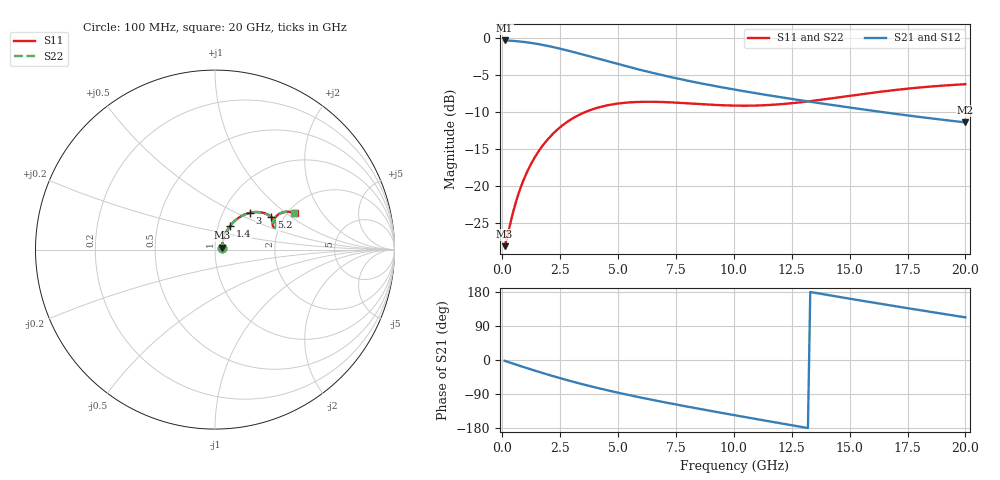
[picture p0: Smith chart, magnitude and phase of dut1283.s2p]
! Touchstone file exported from HFSS 2024.1.0
!  File:  C:/UserFiles/LocalFiles/RDL_TSV_Batchsim/temp_RDL_TSV_1283_1780277839.aedt
!  Generated:  09:55:05 AM Jun  1, 2026
!  Design:  RDL_TSV
!  Project:  temp_RDL_TSV_1283_1780277839
!  Setup:  Setup1
!  Solution:  Sweep
! Variables:
!  dtsv = 6.08um
!  hbump = 3um
!  htsv = 89.99um
!  ldown = 229.11um
!  lrdl = 685.77um
!  p = 40
!  p1 = 50.77um
!  rhole = 10um
!  subl = 3430.41um
!  t = 450um
!  tdown = 2.49um
!  trdl = 2.68um
!  viad = 10um
!  wdown = 26.17um
!  wrdl = 10.82um
!  xbump = 18um
# GHz S MA R 50.000000
! Terminal data exported
! Port[1] = TM1_1_T1
! Port[2] = TM1_4_T1
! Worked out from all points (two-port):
!   200 points, 100 MHz to 20 GHz, reference 50 ohm
!   highest |S21| = -0.33 dB at 100 MHz (marker M1); lowest = -11.4 dB at 20 GHz (marker M2)
!   |S21| within 3 dB of the highest: start of sweep to 4.763 GHz
!   lowest |S11| = -28.2 dB at 100 MHz (marker M3), VSWR 1.08, Z = 53.9 + j1.19 ohm
!   |S11| at or under -10 dB: start of sweep to 3.597 GHz
!   |S22| runs from -28.2 to -6.3 dB; largest |S21 - S12| = 1.1e-14
!   S11 on the Smith chart (normalised r, x): 100 MHz: 1.08, +0.02; 1.4 GHz: 1.14, +0.31; 3 GHz: 1.33, +0.60; 5.2 GHz: 1.73, +0.72; 20 GHz: 2.18, +1.15
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0.1  0.03906 16.4  0.9625 -2.1  0.9625 -2.1  0.03907 16.3
! Gamma 0 0 0 0
! Port Impedance 50 0 50 0
0.5  0.06936 49.4  0.9553 -10.3  0.9553 -10.3  0.06937 49.4
0.7  0.08834 54.3  0.9492 -14.3  0.9492 -14.3  0.08835 54.3
1  0.1173 57.3  0.9376 -20.2  0.9376 -20.2  0.1173 57.2
1.4  0.1555 57.4  0.9181 -27.9  0.9181 -27.9  0.1555 57.4
1.8  0.192 55.7  0.8945 -35.4  0.8945 -35.4  0.1919 55.6
2.2  0.226 52.9  0.8678 -42.7  0.8678 -42.7  0.2258 52.9
2.6  0.2566 49.8  0.8391 -49.7  0.8391 -49.7  0.2563 49.7
3  0.2835 46.4  0.8092 -56.4  0.8092 -56.4  0.2831 46.4
3.5  0.3115 42.3  0.7715 -64.5  0.7715 -64.5  0.311 42.2
4.3  0.3436 36.0  0.7131 -76.5  0.7131 -76.5  0.3429 35.9
5.2  0.3634 30.1  0.6533 -89.0  0.6533 -89.0  0.3626 30.0
6  0.3699 25.9  0.6066 -99.3  0.6066 -99.3  0.369 25.9
6.8  0.3694 22.9  0.5659 -109.1  0.5659 -109.1  0.3684 22.9
8.4  0.3584 20.3  0.4998 -127.6  0.4998 -127.6  0.3572 20.3
10.1  0.3487 21.5  0.4459 -146.5  0.4459 -146.5  0.3476 21.6
11.7  0.3536 24.8  0.405 -163.7  0.405 -163.7  0.3526 24.9
13.4  0.3757 27.8  0.3684 178.4  0.3684 178.4  0.3749 28.0
15.1  0.4082 29.0  0.3368 160.8  0.3368 160.8  0.4077 29.2
16.7  0.4399 28.4  0.311 144.7  0.311 144.7  0.4396 28.5
18.3  0.4667 26.7  0.2887 128.9  0.2887 128.9  0.4665 26.8
20  0.4869 24.4  0.2686 112.5  0.2686 112.5  0.4868 24.5
